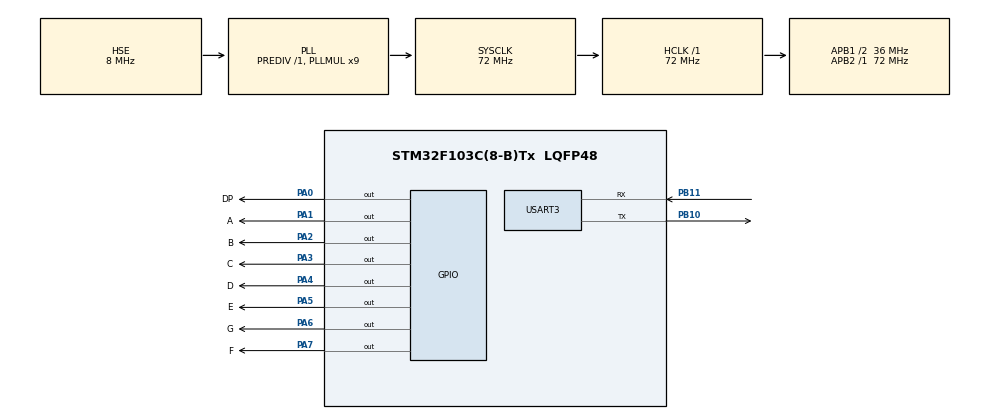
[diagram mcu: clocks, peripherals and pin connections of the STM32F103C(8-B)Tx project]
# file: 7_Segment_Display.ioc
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Mcu.Family=STM32F1
Mcu.Name=STM32F103C(8-B)Tx
Mcu.Package=LQFP48
NVIC.PriorityGroup=NVIC_PRIORITYGROUP_4
PA0-WKUP.GPIO_Label=DP
PA0-WKUP.GPIO_PuPd=GPIO_PULLDOWN
PA0-WKUP.Signal=GPIO_Output
PA1.GPIO_Label=A
PA1.GPIO_PuPd=GPIO_PULLDOWN
PA1.Signal=GPIO_Output
PA13.Mode=Serial_Wire
PA13.Signal=SYS_JTMS-SWDIO
PA14.Mode=Serial_Wire
PA14.Signal=SYS_JTCK-SWCLK
PA2.GPIO_Label=B
PA2.GPIO_PuPd=GPIO_PULLDOWN
PA2.Signal=GPIO_Output
PA3.GPIO_Label=C
PA3.GPIO_PuPd=GPIO_PULLDOWN
PA3.Signal=GPIO_Output
PA4.GPIO_Label=D
PA4.GPIO_PuPd=GPIO_PULLDOWN
PA4.Signal=GPIO_Output
PA5.GPIO_Label=E
PA5.GPIO_PuPd=GPIO_PULLDOWN
PA5.Signal=GPIO_Output
PA6.GPIO_Label=G
PA6.GPIO_PuPd=GPIO_PULLDOWN
PA6.Signal=GPIO_Output
PA7.GPIO_Label=F
PA7.GPIO_PuPd=GPIO_PULLDOWN
PA7.Signal=GPIO_Output
PB10.Mode=Asynchronous
PB10.Signal=USART3_TX
PB11.Mode=Asynchronous
PB11.Signal=USART3_RX
PD0-OSC_IN.Mode=HSE-External-Oscillator
PD0-OSC_IN.Signal=RCC_OSC_IN
PD1-OSC_OUT.Mode=HSE-External-Oscillator
PD1-OSC_OUT.Signal=RCC_OSC_OUT
ProjectManager.HeapSize=0x200
ProjectManager.StackSize=0x400
ProjectManager.TargetToolchain=STM32CubeIDE
RCC.AHBFreq_Value=72000000
RCC.APB1CLKDivider=RCC_HCLK_DIV2
RCC.APB1Freq_Value=36000000
RCC.APB1TimFreq_Value=72000000
RCC.APB2Freq_Value=72000000
RCC.APB2TimFreq_Value=72000000
RCC.HCLKFreq_Value=72000000
RCC.PLLMUL=RCC_PLL_MUL9
RCC.PLLSourceVirtual=RCC_PLLSOURCE_HSE
RCC.SYSCLKFreq_VALUE=72000000
RCC.SYSCLKSource=RCC_SYSCLKSOURCE_PLLCLK
RCC.USBFreq_Value=72000000
USART3.VirtualMode=VM_ASYNC
board=custom

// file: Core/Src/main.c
/* USER CODE BEGIN Header */
/**
  ******************************************************************************
  * @file           : main.c
  * @brief          : Main program body
  ******************************************************************************
  * @attention
  *
  * Copyright (c) 2022 STMicroelectronics.
  * All rights reserved.
  *
  * This software is licensed under terms that can be found in the LICENSE file
  * in the root directory of this software component.
  * If no LICENSE file comes with this software, it is provided AS-IS.
  *
  ******************************************************************************
  */
/* USER CODE END Header */
#include "main.h"

/* USER CODE BEGIN Includes */
#include <stdio.h> /* для printf */
/* USER CODE END Includes */

UART_HandleTypeDef huart3;

void SystemClock_Config(void);
static void MX_GPIO_Init(void);
static void MX_USART3_UART_Init(void);
/* USER CODE BEGIN PFP */
int _write(int file, char *ptr, int len) {
	int i;
	HAL_UART_Transmit(&huart3, (uint8_t*) ptr, len, 50);
	for (i = 0; i < len; i++) {
		ITM_SendChar(*ptr++);
	}
	return len;
}

void setnumber (uint8_t number)
{
	switch (number)
	{
		case 0:
			{
				HAL_GPIO_WritePin(GPIOA, GPIO_PIN_0, GPIO_PIN_RESET); //dot
				HAL_GPIO_WritePin(GPIOA, GPIO_PIN_1, GPIO_PIN_RESET); //A
				HAL_GPIO_WritePin(GPIOA, GPIO_PIN_2, GPIO_PIN_RESET); //B
				HAL_GPIO_WritePin(GPIOA, GPIO_PIN_3, GPIO_PIN_RESET); //C
				HAL_GPIO_WritePin(GPIOA, GPIO_PIN_4, GPIO_PIN_RESET); //D
				HAL_GPIO_WritePin(GPIOA, GPIO_PIN_5, GPIO_PIN_RESET); //E
				HAL_GPIO_WritePin(GPIOA, GPIO_PIN_7, GPIO_PIN_RESET); //F
				HAL_GPIO_WritePin(GPIOA, GPIO_PIN_6, GPIO_PIN_SET);   //G
				break;
			}
		case 1:
			{
				HAL_GPIO_WritePin(GPIOA, GPIO_PIN_0, GPIO_PIN_SET);   //dot
				HAL_GPIO_WritePin(GPIOA, GPIO_PIN_1, GPIO_PIN_SET);   //A
				HAL_GPIO_WritePin(GPIOA, GPIO_PIN_2, GPIO_PIN_RESET); //B
				HAL_GPIO_WritePin(GPIOA, GPIO_PIN_3, GPIO_PIN_RESET); //C
				HAL_GPIO_WritePin(GPIOA, GPIO_PIN_4, GPIO_PIN_SET);   //D
				HAL_GPIO_WritePin(GPIOA, GPIO_PIN_5, GPIO_PIN_SET);   //E
				HAL_GPIO_WritePin(GPIOA, GPIO_PIN_7, GPIO_PIN_SET);	  //F
				HAL_GPIO_WritePin(GPIOA, GPIO_PIN_6, GPIO_PIN_SET);   //G
				break;
			}
		case 2:
			{
				HAL_GPIO_WritePin(GPIOA, GPIO_PIN_0, GPIO_PIN_RESET);  //dot
				HAL_GPIO_WritePin(GPIOA, GPIO_PIN_1, GPIO_PIN_RESET);  //A
				HAL_GPIO_WritePin(GPIOA, GPIO_PIN_2, GPIO_PIN_RESET);  //B
				HAL_GPIO_WritePin(GPIOA, GPIO_PIN_3, GPIO_PIN_SET);    //C
				HAL_GPIO_WritePin(GPIOA, GPIO_PIN_4, GPIO_PIN_RESET);  //D
				HAL_GPIO_WritePin(GPIOA, GPIO_PIN_5, GPIO_PIN_RESET);  //E
				HAL_GPIO_WritePin(GPIOA, GPIO_PIN_7, GPIO_PIN_SET);    //F
				HAL_GPIO_WritePin(GPIOA, GPIO_PIN_6, GPIO_PIN_RESET);  //G
				break;
			}
		case 3:
			{
				HAL_GPIO_WritePin(GPIOA, GPIO_PIN_0, GPIO_PIN_SET);    //dot
				HAL_GPIO_WritePin(GPIOA, GPIO_PIN_1, GPIO_PIN_RESET);  //A
				HAL_GPIO_WritePin(GPIOA, GPIO_PIN_2, GPIO_PIN_RESET);  //B
				HAL_GPIO_WritePin(GPIOA, GPIO_PIN_3, GPIO_PIN_RESET);  //C
				HAL_GPIO_WritePin(GPIOA, GPIO_PIN_4, GPIO_PIN_RESET);  //D
				HAL_GPIO_WritePin(GPIOA, GPIO_PIN_5, GPIO_PIN_SET);    //E
				HAL_GPIO_WritePin(GPIOA, GPIO_PIN_7, GPIO_PIN_SET);	   //F
				HAL_GPIO_WritePin(GPIOA, GPIO_PIN_6, GPIO_PIN_RESET);  //G
				break;
			}
		case 4:
			{
				HAL_GPIO_WritePin(GPIOA, GPIO_PIN_0, GPIO_PIN_RESET);  //dot
				HAL_GPIO_WritePin(GPIOA, GPIO_PIN_1, GPIO_PIN_SET);    //A
				HAL_GPIO_WritePin(GPIOA, GPIO_PIN_2, GPIO_PIN_RESET);  //B
				HAL_GPIO_WritePin(GPIOA, GPIO_PIN_3, GPIO_PIN_RESET);  //C
				HAL_GPIO_WritePin(GPIOA, GPIO_PIN_4, GPIO_PIN_SET);    //D
				HAL_GPIO_WritePin(GPIOA, GPIO_PIN_5, GPIO_PIN_SET);    //E
				HAL_GPIO_WritePin(GPIOA, GPIO_PIN_7, GPIO_PIN_RESET);  //F
				HAL_GPIO_WritePin(GPIOA, GPIO_PIN_6, GPIO_PIN_RESET);  //G
				break;
			}
		case 5:
			{
				HAL_GPIO_WritePin(GPIOA, GPIO_PIN_0, GPIO_PIN_SET);   //dot
				HAL_GPIO_WritePin(GPIOA, GPIO_PIN_1, GPIO_PIN_RESET); //A
				HAL_GPIO_WritePin(GPIOA, GPIO_PIN_2, GPIO_PIN_SET);   //B
				HAL_GPIO_WritePin(GPIOA, GPIO_PIN_3, GPIO_PIN_RESET); //C
				HAL_GPIO_WritePin(GPIOA, GPIO_PIN_4, GPIO_PIN_RESET); //D
				HAL_GPIO_WritePin(GPIOA, GPIO_PIN_5, GPIO_PIN_SET);   //E
				HAL_GPIO_WritePin(GPIOA, GPIO_PIN_7, GPIO_PIN_RESET); //F
				HAL_GPIO_WritePin(GPIOA, GPIO_PIN_6, GPIO_PIN_RESET); //G
				break;
			}
		case 6:
			{
				HAL_GPIO_WritePin(GPIOA, GPIO_PIN_0, GPIO_PIN_RESET); //dot
				HAL_GPIO_WritePin(GPIOA, GPIO_PIN_1, GPIO_PIN_RESET); //A
				HAL_GPIO_WritePin(GPIOA, GPIO_PIN_2, GPIO_PIN_SET);   //B
				HAL_GPIO_WritePin(GPIOA, GPIO_PIN_3, GPIO_PIN_RESET); //C
				HAL_GPIO_WritePin(GPIOA, GPIO_PIN_4, GPIO_PIN_RESET); //D
				HAL_GPIO_WritePin(GPIOA, GPIO_PIN_5, GPIO_PIN_RESET); //E
				HAL_GPIO_WritePin(GPIOA, GPIO_PIN_7, GPIO_PIN_RESET); //F
				HAL_GPIO_WritePin(GPIOA, GPIO_PIN_6, GPIO_PIN_RESET); //G
				break;
			}
		case 7:
			{
				HAL_GPIO_WritePin(GPIOA, GPIO_PIN_0, GPIO_PIN_SET);   //dot
				HAL_GPIO_WritePin(GPIOA, GPIO_PIN_1, GPIO_PIN_RESET); //A
				HAL_GPIO_WritePin(GPIOA, GPIO_PIN_2, GPIO_PIN_RESET); //B
				HAL_GPIO_WritePin(GPIOA, GPIO_PIN_3, GPIO_PIN_RESET); //C
				HAL_GPIO_WritePin(GPIOA, GPIO_PIN_4, GPIO_PIN_SET);   //D
				HAL_GPIO_WritePin(GPIOA, GPIO_PIN_5, GPIO_PIN_SET);   //E
				HAL_GPIO_WritePin(GPIOA, GPIO_PIN_7, GPIO_PIN_SET);	  //F
				HAL_GPIO_WritePin(GPIOA, GPIO_PIN_6, GPIO_PIN_SET);   //G
				break;
			}
		case 8:
			{
				HAL_GPIO_WritePin(GPIOA, GPIO_PIN_0, GPIO_PIN_RESET);   //dot
				HAL_GPIO_WritePin(GPIOA, GPIO_PIN_1, GPIO_PIN_RESET); //A
				HAL_GPIO_WritePin(GPIOA, GPIO_PIN_2, GPIO_PIN_RESET); //B
				HAL_GPIO_WritePin(GPIOA, GPIO_PIN_3, GPIO_PIN_RESET); //C
				HAL_GPIO_WritePin(GPIOA, GPIO_PIN_4, GPIO_PIN_RESET); //D
				HAL_GPIO_WritePin(GPIOA, GPIO_PIN_5, GPIO_PIN_RESET); //E
				HAL_GPIO_WritePin(GPIOA, GPIO_PIN_7, GPIO_PIN_RESET); //F
				HAL_GPIO_WritePin(GPIOA, GPIO_PIN_6, GPIO_PIN_RESET); //G
				break;
			}
		case 9:
			{
				HAL_GPIO_WritePin(GPIOA, GPIO_PIN_0, GPIO_PIN_SET); //dot
				HAL_GPIO_WritePin(GPIOA, GPIO_PIN_1, GPIO_PIN_RESET); //A
				HAL_GPIO_WritePin(GPIOA, GPIO_PIN_2, GPIO_PIN_RESET); //B
				HAL_GPIO_WritePin(GPIOA, GPIO_PIN_3, GPIO_PIN_RESET); //C
				HAL_GPIO_WritePin(GPIOA, GPIO_PIN_4, GPIO_PIN_RESET); //D
				HAL_GPIO_WritePin(GPIOA, GPIO_PIN_5, GPIO_PIN_SET);   //E
				HAL_GPIO_WritePin(GPIOA, GPIO_PIN_7, GPIO_PIN_RESET); //F
				HAL_GPIO_WritePin(GPIOA, GPIO_PIN_6, GPIO_PIN_RESET); //G
				break;
			}
	}
}
// Common cathode
//unsigned int array[10]={0x3f,0x06,0x5b,0x4f,0x66,0x6d,0x7d,0x07,0x7f,0x6f}; //Hex values to display digits 0 to 9
// Common anode
unsigned int array[10]={0xC0,0xF9,0xA4,0xB0,0x99,0x92,0x82,0xF8,0x7f80,0x90}; //Hex values to display digits 0 to 9

/* USER CODE END PFP */

int main(void)
{

  /* MCU Configuration--------------------------------------------------------*/

  /* Reset of all peripherals, Initializes the Flash interface and the Systick. */
  HAL_Init();

  /* Configure the system clock */
  SystemClock_Config();

  /* Initialize all configured peripherals */
  MX_GPIO_Init();
  MX_USART3_UART_Init();

  /* Infinite loop */
	while (1) {

    /* USER CODE BEGIN 3 */
		unsigned int i;
		for (i = 0; i <= 9; i++) {
			setnumber(i);             //Sending hex values one by one
			printf("Number : %d\r\n", i);
			HAL_Delay(1000);
		}
	}
  /* USER CODE END 3 */
}

void SystemClock_Config(void)
{
  RCC_OscInitTypeDef RCC_OscInitStruct = {0};
  RCC_ClkInitTypeDef RCC_ClkInitStruct = {0};

  /** Initializes the RCC Oscillators according to the specified parameters
  * in the RCC_OscInitTypeDef structure.
  */
  RCC_OscInitStruct.OscillatorType = RCC_OSCILLATORTYPE_HSE;
  RCC_OscInitStruct.HSEState = RCC_HSE_ON;
  RCC_OscInitStruct.HSEPredivValue = RCC_HSE_PREDIV_DIV1;
  RCC_OscInitStruct.HSIState = RCC_HSI_ON;
  RCC_OscInitStruct.PLL.PLLState = RCC_PLL_ON;
  RCC_OscInitStruct.PLL.PLLSource = RCC_PLLSOURCE_HSE;
  RCC_OscInitStruct.PLL.PLLMUL = RCC_PLL_MUL9;
  if (HAL_RCC_OscConfig(&RCC_OscInitStruct) != HAL_OK)
  {
    Error_Handler();
  }
  /** Initializes the CPU, AHB and APB buses clocks
  */
  RCC_ClkInitStruct.ClockType = RCC_CLOCKTYPE_HCLK|RCC_CLOCKTYPE_SYSCLK
                              |RCC_CLOCKTYPE_PCLK1|RCC_CLOCKTYPE_PCLK2;
  RCC_ClkInitStruct.SYSCLKSource = RCC_SYSCLKSOURCE_PLLCLK;
  RCC_ClkInitStruct.AHBCLKDivider = RCC_SYSCLK_DIV1;
  RCC_ClkInitStruct.APB1CLKDivider = RCC_HCLK_DIV2;
  RCC_ClkInitStruct.APB2CLKDivider = RCC_HCLK_DIV1;

  if (HAL_RCC_ClockConfig(&RCC_ClkInitStruct, FLASH_LATENCY_2) != HAL_OK)
  {
    Error_Handler();
  }
}

static void MX_USART3_UART_Init(void)
{

  huart3.Instance = USART3;
  huart3.Init.BaudRate = 115200;
  huart3.Init.WordLength = UART_WORDLENGTH_8B;
  huart3.Init.StopBits = UART_STOPBITS_1;
  huart3.Init.Parity = UART_PARITY_NONE;
  huart3.Init.Mode = UART_MODE_TX_RX;
  huart3.Init.HwFlowCtl = UART_HWCONTROL_NONE;
  huart3.Init.OverSampling = UART_OVERSAMPLING_16;
  if (HAL_UART_Init(&huart3) != HAL_OK)
  {
    Error_Handler();
  }

}

static void MX_GPIO_Init(void)
{
  GPIO_InitTypeDef GPIO_InitStruct = {0};

  /* GPIO Ports Clock Enable */
  __HAL_RCC_GPIOD_CLK_ENABLE();
  __HAL_RCC_GPIOA_CLK_ENABLE();
  __HAL_RCC_GPIOB_CLK_ENABLE();

  /*Configure GPIO pin Output Level */
  HAL_GPIO_WritePin(GPIOA, DP_Pin|A_Pin|B_Pin|C_Pin
                          |D_Pin|E_Pin|G_Pin|F_Pin, GPIO_PIN_RESET);

  /*Configure GPIO pins : DP_Pin A_Pin B_Pin C_Pin
                           D_Pin E_Pin G_Pin F_Pin */
  GPIO_InitStruct.Pin = DP_Pin|A_Pin|B_Pin|C_Pin
                          |D_Pin|E_Pin|G_Pin|F_Pin;
  GPIO_InitStruct.Mode = GPIO_MODE_OUTPUT_PP;
  GPIO_InitStruct.Pull = GPIO_PULLDOWN;
  GPIO_InitStruct.Speed = GPIO_SPEED_FREQ_LOW;
  HAL_GPIO_Init(GPIOA, &GPIO_InitStruct);

}

void Error_Handler(void)
{
  __disable_irq();
  while (1)
  {
  }
}
